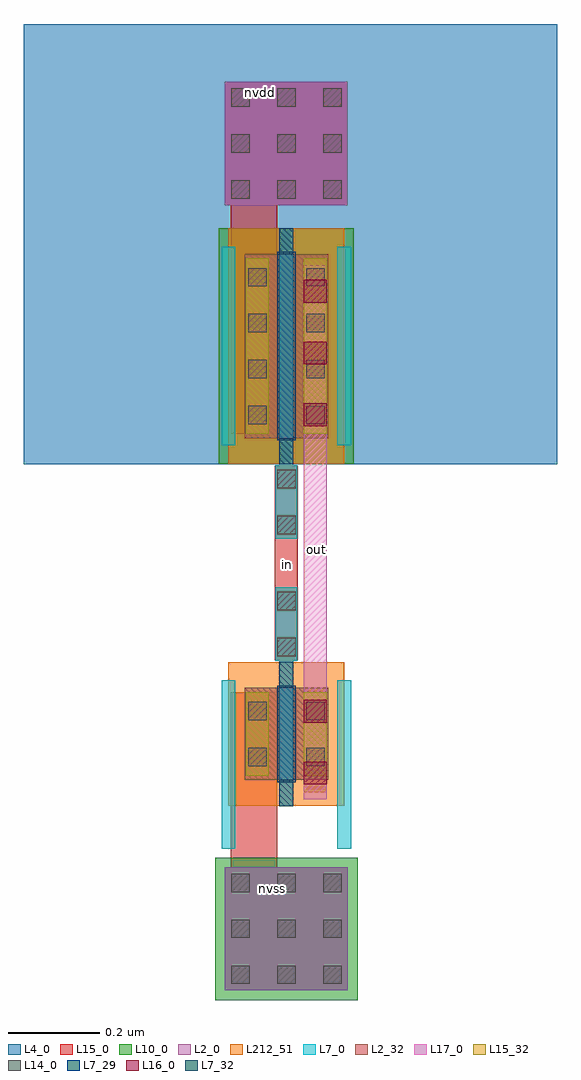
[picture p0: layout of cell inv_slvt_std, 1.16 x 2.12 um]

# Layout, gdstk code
from math import pi, radians
import gdstk
lib = gdstk.Library(unit=1e-6, precision=1e-09)
def R(c, l, rs):  # rectangles x0, y0, x1, y1
    for r in rs: c.add(gdstk.rectangle(r[:2], r[2:], *l))
def A(c, l, x, y, w, h, nx, ny, dx, dy):  # array of equal rectangles
    R(c, l, [(x+i*dx, y+j*dy, x+i*dx+w, y+j*dy+h) for i in range(nx) for j in range(ny)])
L2_0 = (2, 0)
L2_32 = (2, 32)
L4_0 = (4, 0)
L7_0 = (7, 0)
L7_29 = (7, 29)
L7_32 = (7, 32)
L10_0 = (10, 0)
L14_0 = (14, 0)
L15_0 = (15, 0)
L15_32 = (15, 32)
L16_0 = (16, 0)
L17_0 = (17, 0)
L212_51 = (212, 51)

rectarray_cdns_472549884 = lib.new_cell('rectarray_CDNS_472549884341')
A(rectarray_cdns_472549884, L14_0, 0, 0, 0.04, 0.04, 1, 4, 0, 0.1)

slvtpfet_b_cdns_47254988 = lib.new_cell('slvtpfet_b_CDNS_472549884340')
R(slvtpfet_b_cdns_47254988, L2_0, [(-0.076,0,0.106,0.4)])
R(slvtpfet_b_cdns_47254988, L2_32, [(-0.076,0,0,0.4), (0.03,0,0.106,0.4)])
R(slvtpfet_b_cdns_47254988, L4_0, [(-0.167,-0.056,0.197,0.456)])
R(slvtpfet_b_cdns_47254988, L7_0, [(0,-0.057,0.03,0.457), (-0.126,-0.016,-0.096,0.416), (0.126,-0.016,0.156,0.416)])
R(slvtpfet_b_cdns_47254988, L7_29, [(-0.005,-0.005,0.035,0.405)])
R(slvtpfet_b_cdns_47254988, L7_32, [(0,-0.057,0.03,0), (0,0.4,0.03,0.457)])
R(slvtpfet_b_cdns_47254988, L10_0, [(-0.132,-0.056,0.162,0.456)])
R(slvtpfet_b_cdns_47254988, L15_0, [(-0.073,0.009,-0.023,0.391), (0.053,0.009,0.103,0.391)])
R(slvtpfet_b_cdns_47254988, L15_32, [(-0.073,0.009,-0.023,0.391), (0.053,0.009,0.103,0.391)])
R(slvtpfet_b_cdns_47254988, L212_51, [(-0.111,-0.056,0.141,0.456)])
slvtpfet_b_cdns_47254988.add(gdstk.Reference(rectarray_cdns_472549884, (0.058,0.03)))
slvtpfet_b_cdns_47254988.add(gdstk.Reference(rectarray_cdns_472549884, (-0.068,0.03)))
slvtpfet_b_cdns_47254988.add(gdstk.Label('ifxdevlayout (i486-linux-libc6) build Fri Dec 10 13:20:34 MET 2010  Mgen tech file last modified : 2015/5/20 7:23:37', (0,0), layer=62, texttype=20))

c_rectarray_cdns_472549884 = lib.new_cell('rectarray_CDNS_472549884343')
A(c_rectarray_cdns_472549884, L14_0, 0, 0, 0.04, 0.04, 3, 3, 0.1, 0.1)

extstackedcontact_cdns_4 = lib.new_cell('extStackedContact_CDNS_472549884342')
R(extstackedcontact_cdns_4, L2_0, [(0,0,0.268,0.268)])
R(extstackedcontact_cdns_4, L10_0, [(-0.021,-0.021,0.289,0.289)])
R(extstackedcontact_cdns_4, L15_0, [(0,0,0.268,0.268)])
extstackedcontact_cdns_4.add(gdstk.Reference(c_rectarray_cdns_472549884, (0.014,0.014)))

slvtnfet_b_cdns_47254988 = lib.new_cell('slvtnfet_b_CDNS_472549884344')
R(slvtnfet_b_cdns_47254988, L2_0, [(-0.076,0,0.106,0.2)])
R(slvtnfet_b_cdns_47254988, L2_32, [(-0.076,0,0,0.2), (0.03,0,0.106,0.2)])
R(slvtnfet_b_cdns_47254988, L7_0, [(0,-0.057,0.03,0.257), (-0.126,-0.017,-0.096,0.217), (0.126,-0.017,0.156,0.217)])
R(slvtnfet_b_cdns_47254988, L7_29, [(-0.005,-0.005,0.035,0.205)])
R(slvtnfet_b_cdns_47254988, L7_32, [(0,-0.057,0.03,0), (0,0.2,0.03,0.257)])
R(slvtnfet_b_cdns_47254988, L14_0, [(-0.068,0.03,-0.028,0.07), (0.058,0.03,0.098,0.07), (-0.068,0.13,-0.028,0.17), (0.058,0.13,0.098,0.17)])
R(slvtnfet_b_cdns_47254988, L15_0, [(-0.073,0.009,-0.023,0.191), (0.053,0.009,0.103,0.191)])
R(slvtnfet_b_cdns_47254988, L15_32, [(-0.073,0.009,-0.023,0.191), (0.053,0.009,0.103,0.191)])
R(slvtnfet_b_cdns_47254988, L212_51, [(-0.111,-0.056,0.141,0.256)])
slvtnfet_b_cdns_47254988.add(gdstk.Label('ifxdevlayout (i486-linux-libc6) build Fri Dec 10 13:20:34 MET 2010  Mgen tech file last modified : 2015/5/20 7:23:37', (0,0), layer=62, texttype=20))

c_extstackedcontact_cdns_4 = lib.new_cell('extStackedContact_CDNS_472549884345')
R(c_extstackedcontact_cdns_4, L2_0, [(0,0,0.268,0.268)])
R(c_extstackedcontact_cdns_4, L4_0, [(-0.056,-0.056,0.324,0.324)])
R(c_extstackedcontact_cdns_4, L15_0, [(0,0,0.268,0.268)])
c_extstackedcontact_cdns_4.add(gdstk.Reference(c_rectarray_cdns_472549884, (0.014,0.014)))

m1v1m2_cdns_472549884340 = lib.new_cell('M1V1M2_CDNS_472549884340')
R(m1v1m2_cdns_472549884340, L15_0, [(-0.109,-0.025,0.109,0.025)])
R(m1v1m2_cdns_472549884340, L16_0, [(-0.092,-0.025,-0.042,0.025), (0.042,-0.025,0.092,0.025)])
R(m1v1m2_cdns_472549884340, L17_0, [(-0.124,-0.025,0.124,0.025)])

m1v1m2_cdns_472549884341 = lib.new_cell('M1V1M2_CDNS_472549884341')
R(m1v1m2_cdns_472549884341, L15_0, [(-0.176,-0.025,0.176,0.025)])
A(m1v1m2_cdns_472549884341, L16_0, -0.159, -0.025, 0.05, 0.05, 3, 1, 0.134, 0)
R(m1v1m2_cdns_472549884341, L17_0, [(-0.191,-0.025,0.191,0.025)])

inv_slvt_std = lib.new_cell('inv_slvt_std')
R(inv_slvt_std, L4_0, [(1.937,1.592,3.099,2.55)])
R(inv_slvt_std, L7_0, [(2.494,1.152,2.524,1.153), (2.494,1.153,2.524,1.174), (2.485,1.164,2.533,1.324), (2.485,1.43,2.533,1.59), (2.494,1.569,2.524,1.593)])
R(inv_slvt_std, L10_0, [(2.362,1.593,2.656,2.106)])
R(inv_slvt_std, L14_0, [(2.489,1.174,2.529,1.214), (2.489,1.274,2.529,1.314), (2.489,1.44,2.529,1.48), (2.489,1.54,2.529,1.58)])
R(inv_slvt_std, L15_0, [(2.388,0.503,2.489,1.096), (2.484,1.165,2.534,1.335), (2.484,1.419,2.534,1.589), (2.388,1.658,2.489,2.251)])
inv_slvt_std.add(gdstk.FlexPath([(2.635,0.961),(2.635,0.782)], 0.03, ends="flush", simple_path=True, layer=7, datatype=0))  # L7_0
inv_slvt_std.add(gdstk.FlexPath([(2.383,0.934),(2.383,0.755)], 0.03, ends="flush", simple_path=True, layer=7, datatype=0))  # L7_0
inv_slvt_std.add(gdstk.FlexPath([(2.635,0.934),(2.635,0.755)], 0.03, ends="flush", simple_path=True, layer=7, datatype=0))  # L7_0
inv_slvt_std.add(gdstk.FlexPath([(2.509,1.286),(2.509,1.497)], 0.05, ends="flush", simple_path=True, layer=15, datatype=0))  # L15_0
inv_slvt_std.add(gdstk.FlexPath([(2.446,0.954),(2.446,0.693)], 0.05, ends="flush", simple_path=True, layer=15, datatype=0))  # L15_0
inv_slvt_std.add(gdstk.FlexPath([(2.446,1.992),(2.446,2.19)], 0.05, ends="flush", simple_path=True, layer=15, datatype=0))  # L15_0
inv_slvt_std.add(gdstk.FlexPath([(2.572,1.853),(2.572,0.993)], 0.05, ends="flush", simple_path=True, layer=17, datatype=0))  # L17_0
inv_slvt_std.add(gdstk.Reference(slvtpfet_b_cdns_47254988, (2.494,1.649)))
inv_slvt_std.add(gdstk.Reference(extstackedcontact_cdns_4, (2.375,0.447)))
inv_slvt_std.add(gdstk.Reference(slvtnfet_b_cdns_47254988, (2.494,0.905)))
inv_slvt_std.add(gdstk.Reference(c_extstackedcontact_cdns_4, (2.375,2.156)))
inv_slvt_std.add(gdstk.Reference(m1v1m2_cdns_472549884340, (2.572,0.987), rotation=pi/2))
inv_slvt_std.add(gdstk.Reference(m1v1m2_cdns_472549884341, (2.572,1.834), rotation=pi/2))
inv_slvt_std.add(gdstk.Label('nvss', (2.479,0.668), layer=15, texttype=20))
inv_slvt_std.add(gdstk.Label('in', (2.511,1.373), layer=15, texttype=20))
inv_slvt_std.add(gdstk.Label('nvdd', (2.453,2.4), layer=15, texttype=20))
inv_slvt_std.add(gdstk.Label('out', (2.575,1.407), layer=17, texttype=20))

lib.write_gds('inv_slvt_std.gds')
